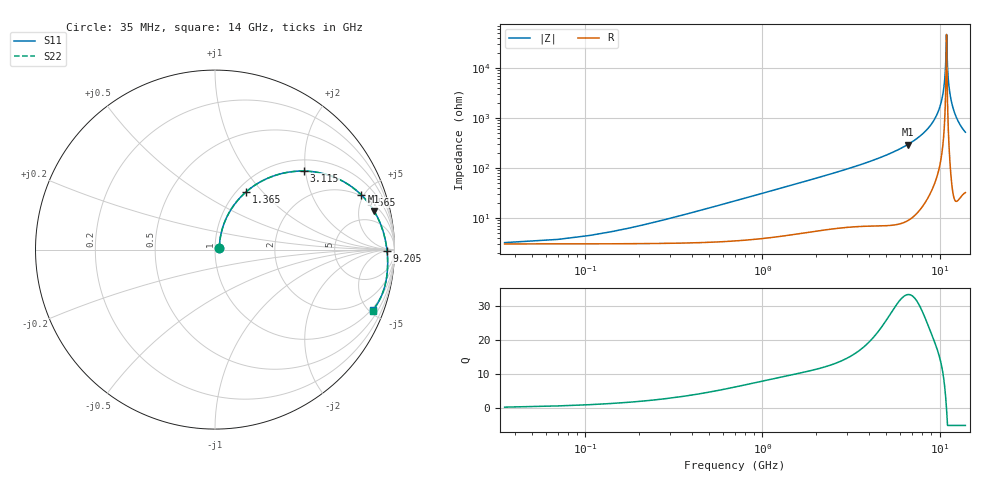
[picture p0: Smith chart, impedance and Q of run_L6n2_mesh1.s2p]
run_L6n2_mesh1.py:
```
########################################################################
#
# Copyright 2025 Volker Muehlhaus and IHP PDK Authors
#
# Licensed under the GNU General Public License, Version 3.0 (the "License");
# you may not use this file except in compliance with the License.
# You may obtain a copy of the License at
#
#    https://www.gnu.org/licenses/gpl-3.0
#
# Unless required by applicable law or agreed to in writing, software
# distributed under the License is distributed on an "AS IS" BASIS,
# WITHOUT WARRANTIES OR CONDITIONS OF ANY KIND, either express or implied.
# See the License for the specific language governing permissions and
# limitations under the License.
#
########################################################################

import os

from gds2openEMS import *

from openEMS import openEMS
import numpy as np


# Model comments
#
# This is a generic model running port excitation for all ports defined below,
# to get full [S] matrix data.
# Output is stored to Touchstone S-parameter file.
# No data plots are created by this script.
#
# This model uses the settings{} dictionary syntax and the gds2openEMS PyPI package
# (pip install gds2openEMS) instead of a local copy of the modules folder - see the
# README for the loose-variable / local-modules-copy alternative, still fully supported.


# ======================== workflow settings ================================

settings = {}

settings['preview_only'] = False  # preview model/mesh only?
settings['no_gui'] = False # if set to True, there is no mesh/model preview in AppCSXCAD, and simulation starts immediately.

settings['numThreads'] = 0 # run on xx cores, changes to 0 for automatic detection by openEMS


# ===================== input files and path settings =======================

gds_filename = "L6n2_with_ports.gds"   # geometries
XML_filename = "openEMS_SG13G2_200um.xml"          # stackup

# merge via polygons with distance less than .. microns, set to 0 to disable via merging.
settings['merge_polygon_size'] = 2
settings['fill_factor_correction'] = False

settings['preprocess_gds'] = False # preprocessing is no longer required

# get path for this simulation file
script_path = utilities.get_script_path(__file__)
# use script filename as model basename
model_basename = utilities.get_basename(__file__)
# set and create directory for simulation output
sim_path = utilities.create_sim_path (script_path,model_basename)
print('Simulation data directory: ', sim_path)
# change current path to model script path
os.chdir(os.path.dirname(os.path.abspath(__file__)))

# ======================== simulation settings ================================

settings['unit']   = 1e-6  # geometry is in microns
settings['margin'] = 250    # distance in microns from GDSII geometry boundary to simulation boundary

settings['fstart']  = 0e9
settings['fstop']   = 14e9
settings['numfreq'] = 401

settings['refined_cellsize'] = 1 # mesh cell size in conductor region

# choices for boundary:
# 'PEC' : perfect electric conductor (default)
# 'PMC' : perfect magnetic conductor, useful for symmetries
# 'MUR' : simple MUR absorbing boundary conditions
# 'PML_8' : PML absorbing boundary conditions
settings['Boundaries'] = ['PEC', 'PEC', 'PEC', 'PEC', 'PEC', 'PEC']

settings['cells_per_wavelength'] = 20   # how many mesh cells per wavelength, must be 10 or more
settings['energy_limit'] = -40          # end criteria for residual energy (dB)

# port configuration, port geometry is read from GDSII file on the specified layer
simulation_ports = simulation_setup.all_simulation_ports()

# in-plane port is specified with target_layername= and direction x or y
# via port is specified with from_layername= and to_layername= and direction z
simulation_ports.add_port(simulation_setup.simulation_port(portnumber=1, 
                                                           voltage=1, 
                                                           port_Z0=50, 
                                                           source_layernum=201, 
                                                           from_layername='SUBGND', 
                                                           to_layername='TopMetal1', 
                                                           direction='z'))

simulation_ports.add_port(simulation_setup.simulation_port(portnumber=2, 
                                                           voltage=1, 
                                                           port_Z0=50, 
                                                           source_layernum=202, 
                                                           from_layername='SUBGND', 
                                                           to_layername='TopMetal1', 
                                                           direction='z'))

# ======================== simulation ================================

# get technology stackup data
materials_list, dielectrics_list, metals_list = stackup_reader.read_substrate (XML_filename)
# get list of layers from technology
layernumbers = metals_list.getlayernumbers()
# we must also read the layers where we added ports, these are not included in technology layers
layernumbers.extend(simulation_ports.portlayers)

# read geometries from GDSII, only purpose 0
allpolygons = gds_reader.read_gds(gds_filename,
                                  layernumbers,
                                  purposelist=[0],
                                  metals_list=metals_list,
                                  preprocess=settings['preprocess_gds'],
                                  merge_polygon_size=settings['merge_polygon_size'])

# maximum cellsize is calculated inside setupSimulation when using settings dictionary

# define excitation and stop criteria and boundaries
FDTD = openEMS(EndCriteria=np.exp(settings['energy_limit']/10 * np.log(10)))
FDTD.SetGaussExcite( (settings['fstart']+settings['fstop'])/2, (settings['fstop']-settings['fstart'])/2 )
FDTD.SetBoundaryCond( settings['Boundaries'] )

settings['simulation_ports'] = simulation_ports
settings['materials_list'] = materials_list
settings['dielectrics_list'] = dielectrics_list
settings['metals_list'] = metals_list
settings['layernumbers'] = layernumbers
settings['allpolygons'] = allpolygons
settings['sim_path'] = sim_path
settings['model_basename'] = model_basename


########### create model, run and post-process ###########

# run all active port excitations, one after another. Ports with voltage=0 are skipped here -
# their S-parameters are left out of the result, see the FAQ in the user's guide.

for excite_portnumbers in simulation_ports.all_active_excitations():
    settings['excite_portnumbers'] = excite_portnumbers

    simulation_setup.setupSimulation (FDTD=FDTD, settings=settings)  # must use named parameters when using settings dict!
    simulation_setup.runSimulation   (FDTD=FDTD, settings=settings)  # must use named parameters when using settings dict!


# Initialize an empty matrix for S-parameters
num_ports = simulation_ports.portcount
s_params = np.empty((num_ports, num_ports, settings['numfreq']), dtype=object)

# Define frequency resolution. Due to FFT from Empire time domain results,
# this is postprocessing and we can change it again at any time.
f = np.linspace(settings['fstart'],settings['fstop'],settings['numfreq'])

# Populate the S-parameter matrix with simulation results
for i in range(1, num_ports + 1):
    for j in range(1, num_ports + 1):
        s_params[i-1, j-1] = utilities.calculate_Sij(i, j, f, sim_path, simulation_ports)

# Write to Touchstone *.snp file
snp_name = os.path.join(sim_path, model_basename + '.s' + str(num_ports) + 'p')
utilities.write_snp(s_params, f, snp_name, z0=simulation_ports.get_reference_impedance())

print('Created S-parameter output file at ', snp_name)
```
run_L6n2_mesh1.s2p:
#  Hz  S  RI  R  50
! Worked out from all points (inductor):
!   400 points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, 35 MHz to 14 GHz, reference 50 ohm
!   read as one part in series: L = 4.96 nH near 315 MHz
!   highest Q = 33.3 at 6.615 GHz (marker M1), where L = 7.12 nH
!   self-resonance near 10.92 GHz
!   S11 on the Smith chart (normalised r, x): 35 MHz: 1.05, +0.02; 1.365 GHz: 1.10, +0.81; 3.115 GHz: 1.26, +1.97; 5.565 GHz: 1.90, +4.77; 9.205 GHz: 46, -7; 14 GHz: 0.86, -5.24
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3.5e7  0.0243 0.00989  0.9649 -0.0107  0.9649 -0.0107  0.0243 0.00989
1.365e9  0.1718 0.3204  0.8097 -0.3476  0.8097 -0.3476  0.1717 0.3203
3.115e9  0.497 0.4376  0.4753 -0.484  0.4753 -0.484  0.4969 0.4374
5.565e9  0.8137 0.3063  0.1558 -0.3802  0.1558 -0.3802  0.8136 0.306
6.615e9  0.8866 0.2144  0.0814 -0.3013  0.0814 -0.3013  0.8864 0.214
7.035e9  0.9071 0.1769  0.0602 -0.269  0.0602 -0.269  0.9069 0.1765
9.205e9  0.9586 -0.00615  0.00477 -0.1124  0.00477 -0.1124  0.9583 -0.00667
1.05e10  0.9613 -0.1062  -0.000142 -0.0285  -0.000142 -0.0285  0.961 -0.1068
1.0955e10  0.9583 -0.1404  0.00204 -0.000131  0.00204 -0.000131  0.9579 -0.141
1.162e10  0.9497 -0.1896  0.00916 0.0404  0.00916 0.0404  0.9493 -0.1902
1.4e10  0.8795 -0.3391  0.0722 0.1602  0.0722 0.1602  0.8789 -0.3398
